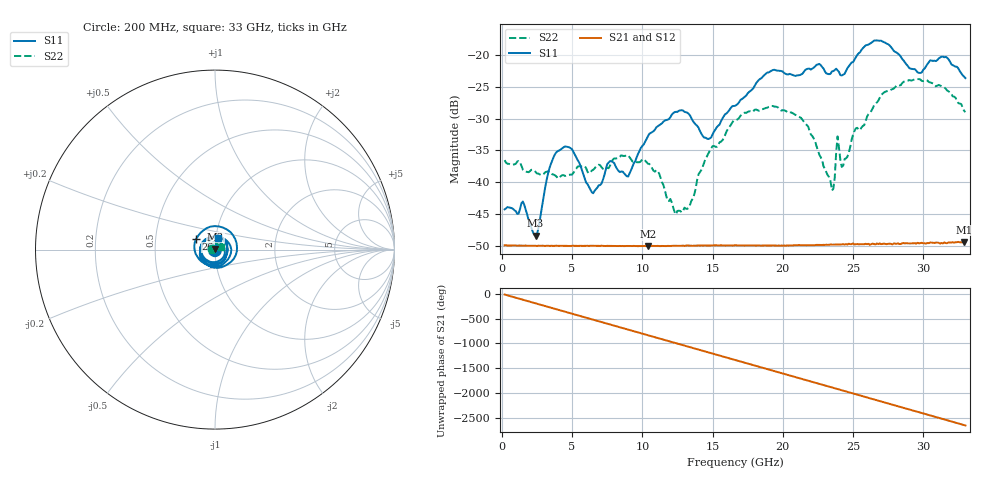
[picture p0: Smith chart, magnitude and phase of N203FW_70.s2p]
# GHZ S RI R 50
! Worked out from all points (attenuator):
!   329 points, 200 MHz to 33 GHz, reference 50 ohm
!   highest |S21| = -49.41 dB at 32.9 GHz (marker M1); lowest = -50.1 dB at 10.4 GHz (marker M2)
!   lowest |S11| = -48.4 dB at 2.4 GHz (marker M3), VSWR 1.01, Z = 50.2 + j0.295 ohm
!   |S11| at or under -10 dB: start of sweep to end of sweep
!   |S22| runs from -45.1 to -23.7 dB; largest |S21 - S12| = 8.8e-05
!   S11 on the Smith chart (normalised r, x): 200 MHz: 1.01, +0.00; 26 GHz: 0.80, +0.10; 33 GHz: 1.02, +0.13
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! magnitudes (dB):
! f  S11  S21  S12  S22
! 200 MHz  -44.3  -50.0  -49.9  -36.5
! 1.5 GHz  -43.1  -50.0  -50.0  -38.0
! 2.4 GHz  -48.4  -50.0  -50.0  -38.4
! 3.8 GHz  -35.5  -50.0  -50.0  -38.9
! 5.7 GHz  -38.1  -50.0  -50.0  -37.5
! 6.5 GHz  -41.8  -50.0  -50.0  -38.1
! 7.7 GHz  -36.7  -50.0  -50.0  -37.4
! 9 GHz  -39.1  -50.1  -50.1  -35.8
! 10.4 GHz  -32.8  -50.1  -50.1  -37.1
! 11.2 GHz  -31.0  -50.1  -50.1  -38.6
! 13.2 GHz  -29.0  -50.0  -50.0  -44.2
! 14.7 GHz  -33.2  -50.0  -50.0  -35.5
! 16.6 GHz  -28.0  -49.9  -50.0  -30.2
! 19.3 GHz  -22.3  -50.0  -50.0  -28.0
! 22.1 GHz  -22.1  -49.9  -49.9  -32.7
! 23.5 GHz  -22.5  -49.9  -49.8  -41.3
! 23.9 GHz  -22.4  -49.8  -49.8  -32.8
! 24.2 GHz  -23.2  -49.8  -49.8  -37.6
! 26 GHz  -18.4  -49.8  -49.7  -29.7
! 27.6 GHz  -18.4  -49.7  -49.7  -25.6
! 32.9 GHz  -23.3  -49.4  -49.4  -28.7
! 33 GHz  -23.6  -49.4  -49.5  -29.0
